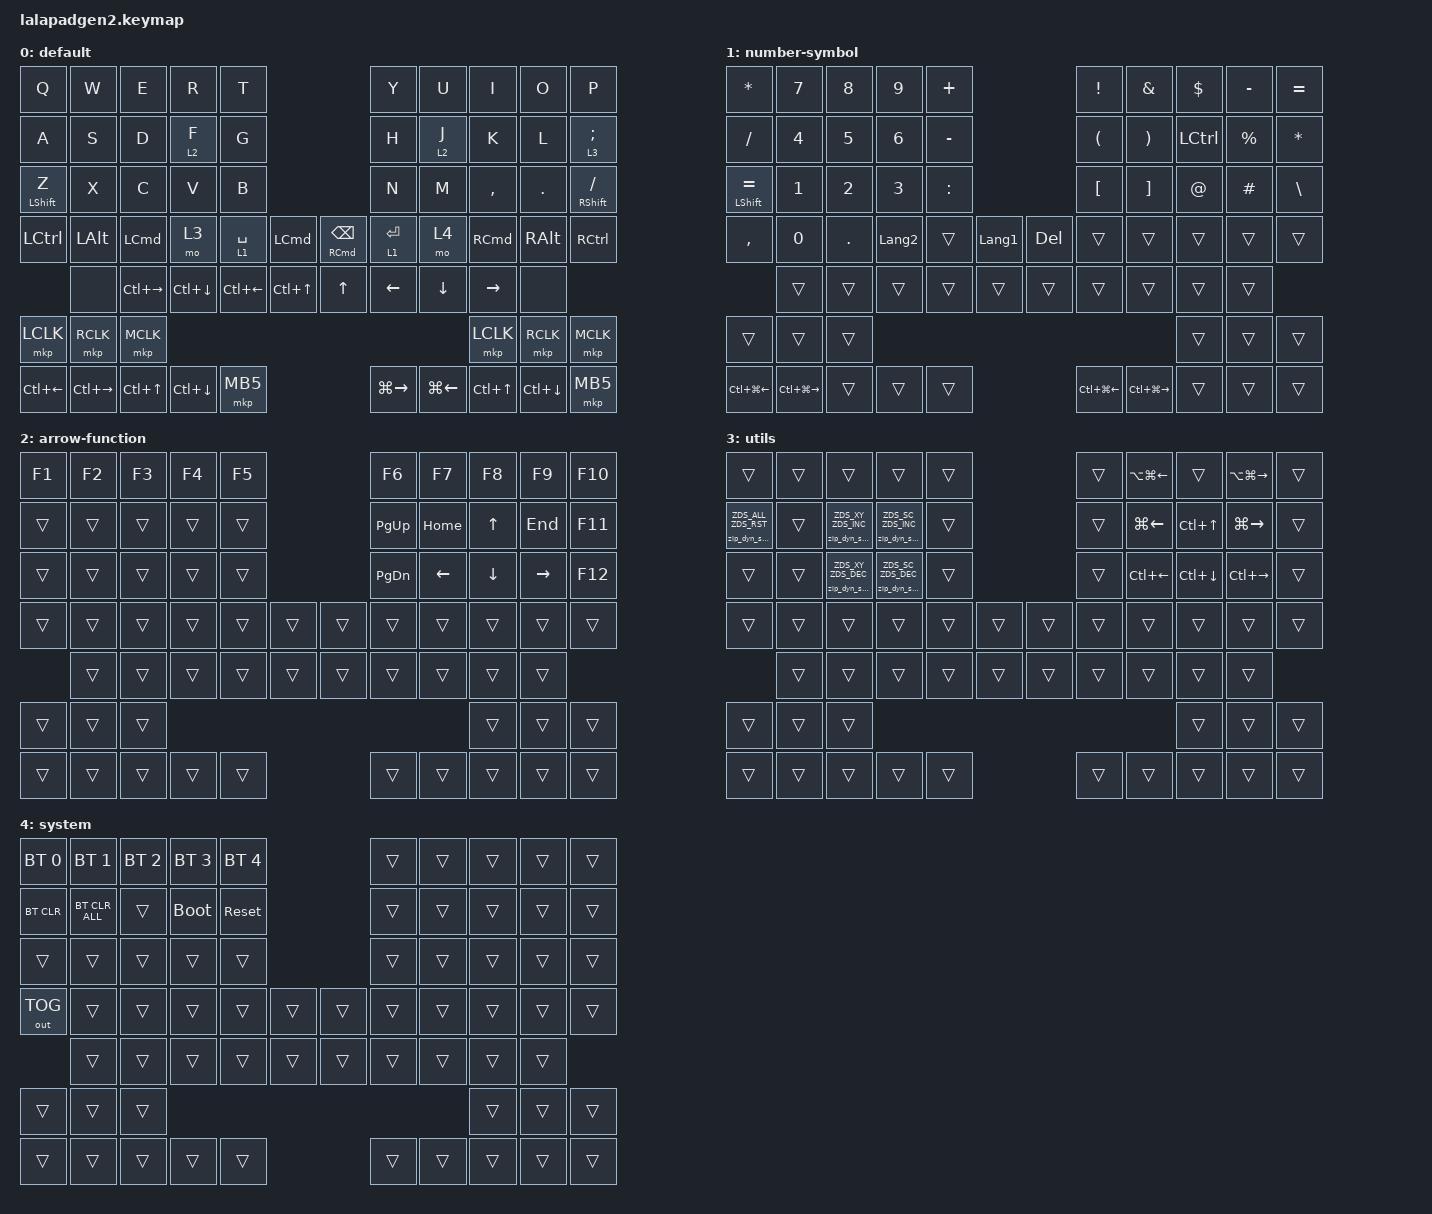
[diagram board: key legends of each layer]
#include <input/processors.dtsi>
#include <dt-bindings/zmk/zip_dynamic_scale.h>
#include <behaviors.dtsi>
#include <dt-bindings/zmk/bt.h>
#include <dt-bindings/zmk/keys.h>
#include <dt-bindings/zmk/outputs.h>
#include <dt-bindings/zmk/pointing.h>

#define DEFAULT_LAYER   0
#define SECONDARY_LAYER 1
#define TERTIARY_LAYER  2
#define UTILS_LAYER     3
#define SYSTEM_LAYER    4

&mt {
    quick-tap-ms = <150>;
    tapping-term-ms = <150>;
};

&lt {
    quick-tap-ms = <150>;
    tapping-term-ms = <150>;
};

/ {
    behaviors {
        zip_dyn_scale: zip_dyn_scale {
            compatible = "zmk,behavior-zip-dynamic-scale";
            #binding-cells = <2>;
        };

        zip_dyn_scale_set: zip_dyn_scale_set {
            compatible = "zmk,behavior-zip-dynamic-scale-set";
            #binding-cells = <2>;
        };

        mt2: mod_tap2 {
            compatible = "zmk,behavior-hold-tap";
            #binding-cells = <2>;
            flavor = "tap-preferred";
            tapping-term-ms = <200>;
            quick-tap-ms = <200>;
            require-prior-idle-ms = <125>;
            bindings = <&kp>, <&kp>;
        };

        tap_dance_layer_1and2: tap_dance_layer_1and2 {
            compatible = "zmk,behavior-tap-dance";
            label = "td_mo12";
            #binding-cells = <0>;
            bindings = <&mo 1>, <&mo 2>;
        };
    };

    combos {
        compatible = "zmk,combos";

        escape {
            bindings = <&kp ESCAPE>;
            key-positions = <0 1>;
        };

        tab {
            bindings = <&kp TAB>;
            key-positions = <11 12>;
        };

        shift_tab {
            bindings = <&kp LS(TAB)>;
            key-positions = <12 13>;
        };

        double_quatation {
            bindings = <&kp DOUBLE_QUOTES>;
            key-positions = <18 19>;
        };

        single_quatation {
            bindings = <&kp SINGLE_QUOTE>;
            key-positions = <17 18>;
        };

        grave {
            bindings = <&kp GRAVE>;
            key-positions = <16 17>;
        };

        tilde {
            bindings = <&kp TILDE>;
            key-positions = <15 16>;
        };

        pipe {
            bindings = <&kp PIPE>;
            key-positions = <25 26>;
        };
    };

    keymap {
        compatible = "zmk,keymap";

        DEFAULT_LAYER {
            display-name = "default";
            bindings = <
&kp Q               &kp W                &kp E             &kp R               &kp T                                                         &kp Y                &kp U               &kp I              &kp O               &kp P
&kp A               &kp S                &kp D             &lt 2 F             &kp G                                                         &kp H                &lt 2 J             &kp K              &kp L               &lt 3 SEMICOLON
&mt2 LEFT_SHIFT Z   &kp X                &kp C             &kp V               &kp B                                                         &kp N                &kp M               &kp COMMA          &kp PERIOD          &mt2 RIGHT_SHIFT SLASH
&kp LCTRL           &kp LEFT_ALT         &kp LEFT_COMMAND  &mo 3               &lt 1 SPACE   &kp LEFT_COMMAND  &mt2 RIGHT_COMMAND BACKSPACE  &lt 1 RETURN         &mo 4               &kp RIGHT_COMMAND  &kp RIGHT_ALT       &kp RIGHT_CONTROL
                    &none                &kp LC(RIGHT)     &kp LC(DOWN)        &kp LC(LEFT)  &kp LC(UP)        &kp UP                        &kp LEFT             &kp DOWN            &kp RIGHT          &none
&mkp LCLK           &mkp RCLK            &mkp MCLK                                                                                                                                    &mkp LCLK          &mkp RCLK           &mkp MCLK
&kp LC(LEFT_ARROW)  &kp LC(RIGHT_ARROW)  &kp LC(UP_ARROW)  &kp LC(DOWN_ARROW)  &mkp MB5                                                      &kp LG(RIGHT_ARROW)  &kp LG(LEFT_ARROW)  &kp LC(UP_ARROW)   &kp LC(DOWN_ARROW)  &mkp MB5
            >;
        };

        SECONDARY_LAYER {
            display-name = "number-symbol";
            bindings = <
&kp ASTERISK           &kp N7             &kp N8        &kp N9          &kp PLUS                            &kp EXCLAMATION       &kp AMPERSAND          &kp DOLLAR   &kp MINUS    &kp EQUAL
&kp SLASH              &kp NUMBER_4       &kp N5        &kp NUMBER_6    &kp MINUS                           &kp LEFT_PARENTHESIS  &kp RIGHT_PARENTHESIS  &kp LCTRL    &kp PERCENT  &kp ASTERISK
&mt2 LEFT_SHIFT EQUAL  &kp NUMBER_1       &kp NUMBER_2  &kp NUMBER_3    &kp COLON                           &kp LEFT_BRACKET      &kp RIGHT_BRACKET      &kp AT_SIGN  &kp HASH     &kp BACKSLASH
&kp COMMA              &kp N0             &kp PERIOD    &kp LANGUAGE_2  &trans     &kp LANGUAGE_1  &kp DEL  &trans                &trans                 &trans       &trans       &trans
                       &trans             &trans        &trans          &trans     &trans          &trans   &trans                &trans                 &trans       &trans
&trans                 &trans             &trans                                                                                                         &trans       &trans       &trans
&kp LC(LG(LEFT))       &kp LC(LG(RIGHT))  &trans        &trans          &trans                              &kp LC(LG(LEFT))      &kp LC(LG(RIGHT))      &trans       &trans       &trans
            >;
        };

        TERTIARY_LAYER {
            display-name = "arrow-function";
            bindings = <
&kp F1  &kp F2  &kp F3  &kp F4  &kp F5                  &kp F6         &kp F7          &kp F8          &kp F9           &kp F10
&trans  &trans  &trans  &trans  &trans                  &kp PAGE_UP    &kp HOME        &kp UP_ARROW    &kp END          &kp F11
&trans  &trans  &trans  &trans  &trans                  &kp PAGE_DOWN  &kp LEFT_ARROW  &kp DOWN_ARROW  &kp RIGHT_ARROW  &kp F12
&trans  &trans  &trans  &trans  &trans  &trans  &trans  &trans         &trans          &trans          &trans           &trans
        &trans  &trans  &trans  &trans  &trans  &trans  &trans         &trans          &trans          &trans
&trans  &trans  &trans                                                                 &trans          &trans           &trans
&trans  &trans  &trans  &trans  &trans                  &trans         &trans          &trans          &trans           &trans
            >;
        };

        UTILS_LAYER {
            display-name = "utils";
            bindings = <
&trans                          &trans  &trans                         &trans                         &trans                  &trans  &kp LA(LG(LEFT_ARROW))  &trans              &kp LA(LG(RIGHT_ARROW))  &trans
&zip_dyn_scale ZDS_ALL ZDS_RST  &trans  &zip_dyn_scale ZDS_XY ZDS_INC  &zip_dyn_scale ZDS_SC ZDS_INC  &trans                  &trans  &kp LG(LEFT_ARROW)      &kp LC(UP_ARROW)    &kp LG(RIGHT_ARROW)      &trans
&trans                          &trans  &zip_dyn_scale ZDS_XY ZDS_DEC  &zip_dyn_scale ZDS_SC ZDS_DEC  &trans                  &trans  &kp LC(LEFT_ARROW)      &kp LC(DOWN_ARROW)  &kp LC(RIGHT_ARROW)      &trans
&trans                          &trans  &trans                         &trans                         &trans  &trans  &trans  &trans  &trans                  &trans              &trans                   &trans
                                &trans  &trans                         &trans                         &trans  &trans  &trans  &trans  &trans                  &trans              &trans
&trans                          &trans  &trans                                                                                                                &trans              &trans                   &trans
&trans                          &trans  &trans                         &trans                         &trans                  &trans  &trans                  &trans              &trans                   &trans
            >;
        };

        SYSTEM_LAYER {
            display-name = "system";
            bindings = <
&bt BT_SEL 0  &bt BT_SEL 1    &bt BT_SEL 2  &bt BT_SEL 3  &bt BT_SEL 4                  &trans  &trans  &trans  &trans  &trans
&bt BT_CLR    &bt BT_CLR_ALL  &trans        &bootloader   &sys_reset                    &trans  &trans  &trans  &trans  &trans
&trans        &trans          &trans        &trans        &trans                        &trans  &trans  &trans  &trans  &trans
&out OUT_TOG  &trans          &trans        &trans        &trans        &trans  &trans  &trans  &trans  &trans  &trans  &trans
              &trans          &trans        &trans        &trans        &trans  &trans  &trans  &trans  &trans  &trans
&trans        &trans          &trans                                                                    &trans  &trans  &trans
&trans        &trans          &trans        &trans        &trans                        &trans  &trans  &trans  &trans  &trans
            >;
        };
    };

    conditional_layers {
        compatible = "zmk,conditional-layers";

        system-layer {
            if-layers = <3>;
            then-layer = <4>;
        };
    };
};
